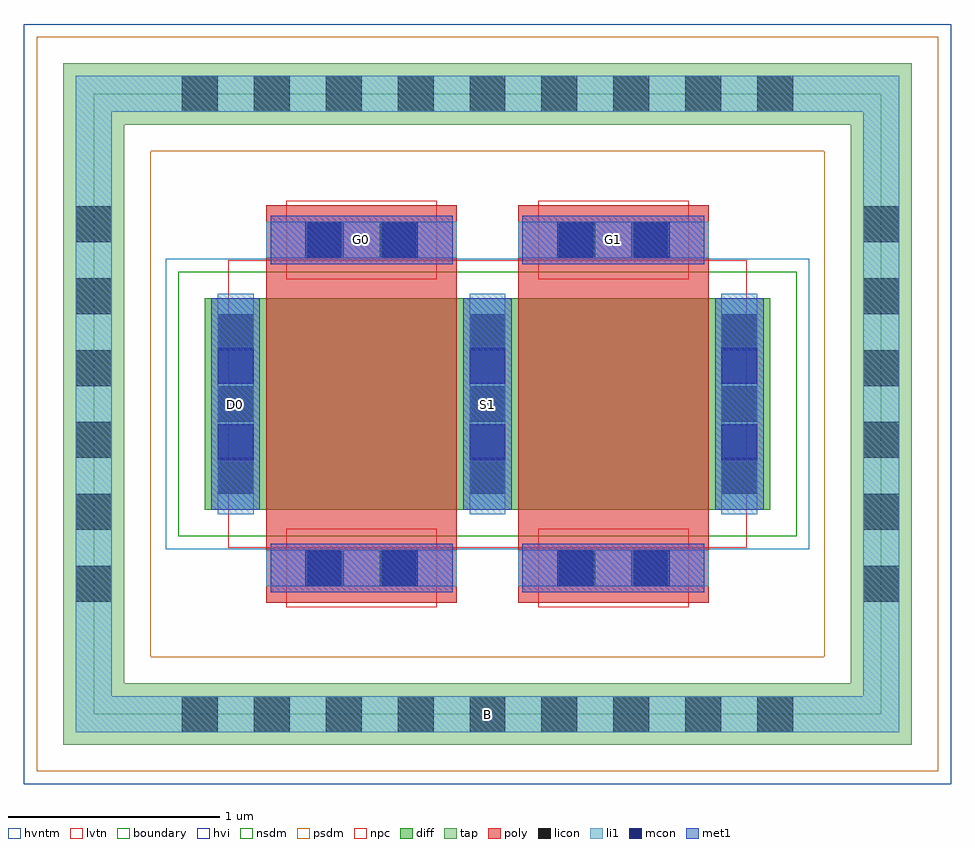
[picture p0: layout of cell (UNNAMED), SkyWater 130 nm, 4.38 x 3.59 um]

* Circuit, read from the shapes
.subckt (UNNAMED) B D0 G0 G1 S1
XM1 S1 G0 D0 B sky130_fd_pr__nfet_05v0_nvt w=1 l=0.9
XM2 n1 G1 S1 B sky130_fd_pr__nfet_05v0_nvt w=1 l=0.9
.ends

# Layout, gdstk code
import gdstk
lib = gdstk.Library(unit=1e-6, precision=1e-09)
def R(c, l, rs):  # rectangles x0, y0, x1, y1
    for r in rs: c.add(gdstk.rectangle(r[:2], r[2:], *l))
def A(c, l, x, y, w, h, nx, ny, dx, dy):  # array of equal rectangles
    R(c, l, [(x+i*dx, y+j*dy, x+i*dx+w, y+j*dy+h) for i in range(nx) for j in range(ny)])
diff = (65, 20)
tap = (65, 44)
poly = (66, 20)
licon = (66, 44)
li1 = (67, 20)
mcon = (67, 44)
met1 = (68, 20)
hvi = (75, 20)
nsdm = (93, 44)
psdm = (94, 20)
npc = (95, 20)
hvntm = (125, 20)
lvtn = (125, 44)
boundary = (235, 4)

c__unnamed_ = lib.new_cell('(UNNAMED)')
R(c__unnamed_, diff, [(-1.335,-0.5,1.335,0.5)])
R(c__unnamed_, tap, [(-2.005,-1.61,2.005,-1.32), (-2.005,-1.32,-1.715,1.32), (1.715,-1.32,2.005,1.32), (-2.005,1.32,2.005,1.61)])
R(c__unnamed_, poly, [(-1.045,-0.94,-0.145,0.94), (0.145,-0.94,1.045,0.94)])
A(c__unnamed_, licon, -1.445, -1.55, 0.17, 0.17, 9, 2, 0.34, 2.93)
A(c__unnamed_, licon, -1.945, -0.935, 0.17, 0.17, 1, 6, 0, 0.34)
A(c__unnamed_, licon, 1.775, -0.935, 0.17, 0.17, 1, 6, 0, 0.34)
A(c__unnamed_, licon, -1.275, -0.425, 0.17, 0.17, 3, 3, 1.19, 0.34)
R(c__unnamed_, licon, [(-0.85,-0.86,-0.68,-0.69), (-0.51,-0.86,-0.34,-0.69), (0.34,-0.86,0.51,-0.69), (0.68,-0.86,0.85,-0.69), (-0.85,0.69,-0.68,0.86), (-0.51,0.69,-0.34,0.86), (0.34,0.69,0.51,0.86), (0.68,0.69,0.85,0.86)])
A(c__unnamed_, li1, -1.275, -0.52, 0.17, 1.04, 3, 1, 1.19, 0)
R(c__unnamed_, li1, [(-1.945,-1.55,1.945,-1.38), (-1.945,-1.38,-1.775,1.38), (1.775,-1.38,1.945,1.38), (-1.045,-0.86,-0.145,-0.69), (0.145,-0.86,1.045,-0.69), (-1.045,0.69,-0.145,0.86), (0.145,0.69,1.045,0.86), (-1.945,1.38,1.945,1.55)])
A(c__unnamed_, mcon, -1.275, -0.265, 0.17, 0.17, 3, 2, 1.19, 0.36)
R(c__unnamed_, mcon, [(-0.86,-0.86,-0.69,-0.69), (-0.5,-0.86,-0.33,-0.69), (0.33,-0.86,0.5,-0.69), (0.69,-0.86,0.86,-0.69), (-0.86,0.69,-0.69,0.86), (-0.5,0.69,-0.33,0.86), (0.33,0.69,0.5,0.86), (0.69,0.69,0.86,0.86)])
A(c__unnamed_, met1, -1.305, -0.5, 0.23, 1, 3, 1, 1.19, 0)
R(c__unnamed_, met1, [(-1.025,-0.89,-0.165,-0.66), (0.165,-0.89,1.025,-0.66), (-1.025,0.66,-0.165,0.89), (0.165,0.66,1.025,0.89)])
R(c__unnamed_, hvi, [(-2.19,-1.795,2.19,1.795)])
R(c__unnamed_, nsdm, [(-1.46,-0.625,1.46,0.625)])
R(c__unnamed_, psdm, [(-2.13,-1.735,2.13,-1.195), (-2.13,-1.195,-1.59,1.195), (1.59,-1.195,2.13,1.195), (-2.13,1.195,2.13,1.735)])
R(c__unnamed_, npc, [(-0.95,-0.96,-0.24,-0.59), (0.24,-0.96,0.95,-0.59), (-0.95,0.59,-0.24,0.96), (0.24,0.59,0.95,0.96)])
R(c__unnamed_, hvntm, [(-1.52,-0.685,1.52,0.685)])
R(c__unnamed_, lvtn, [(-1.225,-0.68,1.225,0.68)])
R(c__unnamed_, boundary, [(-1.86,-1.465,1.86,1.465)])
c__unnamed_.add(gdstk.Label('B', (0,-1.465), layer=67, texttype=5))
c__unnamed_.add(gdstk.Label('D0', (-1.19,0), layer=67, texttype=5))
c__unnamed_.add(gdstk.Label('G0', (-0.595,0.775), layer=67, texttype=5))
c__unnamed_.add(gdstk.Label('S1', (0,0), layer=67, texttype=5))
c__unnamed_.add(gdstk.Label('G1', (0.595,0.775), layer=67, texttype=5))

lib.write_gds('_UNNAMED_.gds')
